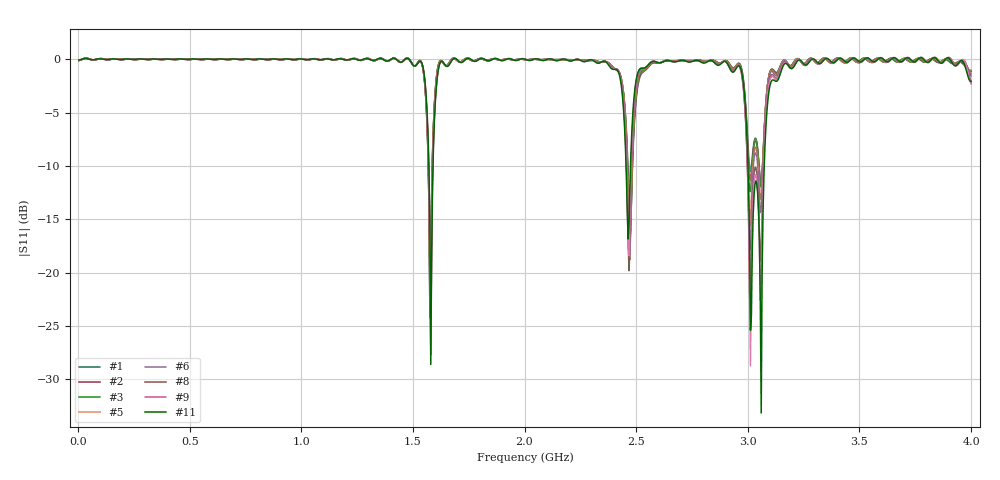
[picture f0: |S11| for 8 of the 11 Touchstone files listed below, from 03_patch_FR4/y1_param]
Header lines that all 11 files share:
! TOUCHSTONE file generated by CST MICROWAVE STUDIO
! Project name: AppElm_antenne_patch_FR4.cst
! Header version: 2018
! Port assignment regex: !\s*Touchstone port\s*([0-9]+)\s*=\s*(CST MWS port|CST DS port)\s*([0-9]+|Zmin|Zmax)\s*\(\"(.*)\"\)(\s*mode\s*([0-9]+))?.*
! Touchstone port assignment:
! Touchstone port 1 = CST MWS port 1 ("")
# GHz S MA R 50
Fixed: L = 45, W = 58.5, e = 0.035, h = 1.6, lambda = 0.190476, ls = 120, w0 = 2.54, w1 = 0.847, ws = 120, y0 = 18
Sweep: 4 MHz to 4 GHz
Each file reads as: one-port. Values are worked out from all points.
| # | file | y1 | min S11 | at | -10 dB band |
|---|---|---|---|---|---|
| 1 | AppElm_antenne_patch_FR4_1.s1p | 17.85 | -24.2 dB | 1.576 GHz | 20.86 MHz wide |
| 2 | AppElm_antenne_patch_FR4_2.s1p | 19.04 | -23.7 dB | 1.576 GHz | 21.11 MHz wide |
| 3 | AppElm_antenne_patch_FR4_3.s1p | 20.23 | -22.9 dB | 1.58 GHz | 21.26 MHz wide |
| 4 | AppElm_antenne_patch_FR4_4.s1p | 21.42 | -23.4 dB | 1.58 GHz | 21.24 MHz wide |
| 5 | AppElm_antenne_patch_FR4_5.s1p | 22.61 | -24.6 dB | 1.58 GHz | 21.2 MHz wide |
| 6 | AppElm_antenne_patch_FR4_6.s1p | 23.8 | -25.4 dB | 1.58 GHz | 26.92 MHz wide |
| 7 | AppElm_antenne_patch_FR4_7.s1p | 24.99 | -26.6 dB | 1.58 GHz | 29.91 MHz wide |
| 8 | AppElm_antenne_patch_FR4_8.s1p | 26.18 | -27.6 dB | 1.58 GHz | 71.9 MHz wide |
| 9 | AppElm_antenne_patch_FR4_9.s1p | 27.37 | -28.8 dB | 3.012 GHz | 72.47 MHz wide |
| 10 | AppElm_antenne_patch_FR4_10.s1p | 28.56 | -30.2 dB | 3.012 GHz | 72.55 MHz wide |
| 11 | AppElm_antenne_patch_FR4_11.s1p | 29.75 | -33.2 dB | 3.06 GHz | 73.07 MHz wide |
